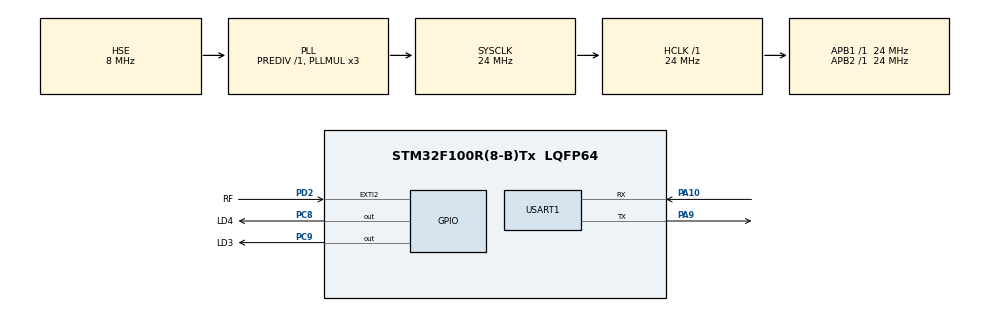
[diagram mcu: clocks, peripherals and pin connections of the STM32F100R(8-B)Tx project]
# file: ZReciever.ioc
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Mcu.Family=STM32F1
Mcu.Name=STM32F100R(8-B)Tx
Mcu.Package=LQFP64
NVIC.EXTI2_IRQn=true\:0\:0\:false\:false\:true
NVIC.PriorityGroup=NVIC_PRIORITYGROUP_4
NVIC.USART1_IRQn=true\:0\:0\:false\:false\:true
PA10.Mode=Asynchronous
PA10.Signal=USART1_RX
PA13.Mode=Serial_Wire
PA13.Signal=SYS_JTMS-SWDIO
PA14.Mode=Serial_Wire
PA14.Signal=SYS_JTCK-SWCLK
PA9.Mode=Asynchronous
PA9.Signal=USART1_TX
PC14-OSC32_IN.Mode=LSE-External-Oscillator
PC14-OSC32_IN.Signal=RCC_OSC32_IN
PC15-OSC32_OUT.Mode=LSE-External-Oscillator
PC15-OSC32_OUT.Signal=RCC_OSC32_OUT
PC8.GPIO_Label=LD4
PC8.GPIO_Speed=GPIO_SPEED_FREQ_HIGH
PC8.Signal=GPIO_Output
PC9.GPIO_Label=LD3
PC9.GPIO_Speed=GPIO_SPEED_FREQ_HIGH
PC9.Signal=GPIO_Output
PD0-OSC_IN.Mode=HSE-External-Oscillator
PD0-OSC_IN.Signal=RCC_OSC_IN
PD1-OSC_OUT.Mode=HSE-External-Oscillator
PD1-OSC_OUT.Signal=RCC_OSC_OUT
PD2.GPIO_Label=RF
PD2.Signal=GPXTI2
ProjectManager.HeapSize=0x200
ProjectManager.StackSize=0x400
ProjectManager.TargetToolchain=MDK-ARM V5
RCC.AHBFreq_Value=24000000
RCC.APB1Freq_Value=24000000
RCC.APB1TimFreq_Value=24000000
RCC.APB2Freq_Value=24000000
RCC.APB2TimFreq_Value=24000000
RCC.HCLKFreq_Value=24000000
RCC.PLLMUL=RCC_PLL_MUL3
RCC.PLLSource=RCC_PLLSOURCE_HSE
RCC.SYSCLKFreq_VALUE=24000000
RCC.SYSCLKSource=RCC_SYSCLKSOURCE_PLLCLK
TIM4.Period=15000
TIM4.Prescaler=23
USART1.VirtualMode=VM_ASYNC
VP_CRC_VS_CRC.Mode=CRC_Activate
VP_TIM4_VS_ClockSourceINT.Mode=Internal
board=ZReciever

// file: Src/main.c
/**
  ******************************************************************************
  * File Name          : main.c
  * Description        : Main program body
  ******************************************************************************
  ** This notice applies to any and all portions of this file
  * that are not between comment pairs USER CODE BEGIN and
  * USER CODE END. Other portions of this file, whether
  * inserted by the user or by software development tools
  * are owned by their respective copyright owners.
  *
  * COPYRIGHT(c) 2017 STMicroelectronics
  *
  * Redistribution and use in source and binary forms, with or without modification,
  * are permitted provided that the following conditions are met:
  *   1. Redistributions of source code must retain the above copyright notice,
  *      this list of conditions and the following disclaimer.
  *   2. Redistributions in binary form must reproduce the above copyright notice,
  *      this list of conditions and the following disclaimer in the documentation
  *      and/or other materials provided with the distribution.
  *   3. Neither the name of STMicroelectronics nor the names of its contributors
  *      may be used to endorse or promote products derived from this software
  *      without specific prior written permission.
  *
  * THIS SOFTWARE IS PROVIDED BY THE COPYRIGHT HOLDERS AND CONTRIBUTORS "AS IS"
  * AND ANY EXPRESS OR IMPLIED WARRANTIES, INCLUDING, BUT NOT LIMITED TO, THE
  * IMPLIED WARRANTIES OF MERCHANTABILITY AND FITNESS FOR A PARTICULAR PURPOSE ARE
  * DISCLAIMED. IN NO EVENT SHALL THE COPYRIGHT HOLDER OR CONTRIBUTORS BE LIABLE
  * FOR ANY DIRECT, INDIRECT, INCIDENTAL, SPECIAL, EXEMPLARY, OR CONSEQUENTIAL
  * DAMAGES (INCLUDING, BUT NOT LIMITED TO, PROCUREMENT OF SUBSTITUTE GOODS OR
  * SERVICES; LOSS OF USE, DATA, OR PROFITS; OR BUSINESS INTERRUPTION) HOWEVER
  * CAUSED AND ON ANY THEORY OF LIABILITY, WHETHER IN CONTRACT, STRICT LIABILITY,
  * OR TORT (INCLUDING NEGLIGENCE OR OTHERWISE) ARISING IN ANY WAY OUT OF THE USE
  * OF THIS SOFTWARE, EVEN IF ADVISED OF THE POSSIBILITY OF SUCH DAMAGE.
  *
  ******************************************************************************
  */
#include "main.h"
#include "stm32f1xx_hal.h"
#include "crc.h"
#include "tim.h"
#include "usart.h"
#include "gpio.h"

/* USER CODE BEGIN PV */
/* Exported macro ------------------------------------------------------------*/
#define PUTCHAR_PROTOTYPE int fputc(int ch, FILE *f)
/* Private defines -----------------------------------------------------------*/
#define PREAMBLE_MARK_TIME 4500
#define PREAMBLE_SPACE_TIME 4500
#define PREAMBLE_TIME (PREAMBLE_MARK_TIME + PREAMBLE_SPACE_TIME)
#define LOGIC_ONE_TIME 2150
#define LOGIC_ZERO_TIME 1300
#define MARK_TIME 650
#define SPACE_TIME_1 1500
#define SPACE_TIME_0 650

#define INTERVAL 250
#define INTERVAL_PREAMBLE 1500

#define MSG_LEN 5
#define CRC_IDX 4

/* Private variables ---------------------------------------------------------*/
volatile uint8_t    irState = 0;
volatile uint8_t    irAddr = 0;
volatile uint8_t    irLen = 0;
volatile uint8_t    irReceive[8];
volatile uint8_t    irMsg[MSG_LEN];
volatile uint8_t    irMsgIdx = 0;
volatile uint8_t    flgMsgReceive = 0;
volatile uint8_t    flgBadMsg = 0;
/* USER CODE END PV */

void SystemClock_Config(void);

/* USER CODE BEGIN PFP */
/* Private function prototypes -----------------------------------------------*/
void RF_SetReady(void);
uint8_t Crc8(uint8_t *pcBlock, uint16_t len);
/* USER CODE END PFP */

int main(void)
{

  /* USER CODE BEGIN 1 */
	uint8_t CRCValue = 0;
	uint16_t ADC_Value = 0;
	float u = 0;
  /* USER CODE END 1 */

  /* MCU Configuration----------------------------------------------------------*/

  /* Reset of all peripherals, Initializes the Flash interface and the Systick. */
  HAL_Init();

  /* Configure the system clock */
  SystemClock_Config();

  /* Initialize all configured peripherals */
  MX_GPIO_Init();
  MX_TIM4_Init();
  MX_USART1_UART_Init();
  MX_CRC_Init();

  /* USER CODE BEGIN 2 */
	printf("Reciever started..\n\r");
	RF_SetReady();
  HAL_NVIC_EnableIRQ(EXTI2_IRQn);
  /* USER CODE END 2 */

  /* Infinite loop */
  /* USER CODE BEGIN WHILE */
  while (1)
  {
		if (flgBadMsg) {
			RF_SetReady();
    }
    if (flgMsgReceive) {
			CRCValue = Crc8((uint8_t*)irMsg, MSG_LEN - 1);
			if (irMsg[CRC_IDX] == CRCValue) {
				ADC_Value = (uint16_t)(irMsg[1]<<8) + irMsg[2];
				u = ((float)ADC_Value)*3/4096;
				switch(irMsg[3]) {
					case 0:
						printf("device disconnect, ADC = %04d V=%.2fv - \n\r",  ADC_Value, u);
						break;
					case 1:
						printf("device connected, ADC = %04d V=%.2fv - \n\r",  ADC_Value, u);
						break;
					case 2:
						printf("device started..\n\r");
						break;
				}
				RF_SetReady();
				HAL_GPIO_WritePin(LD3_GPIO_Port, LD3_Pin, GPIO_PIN_SET);
        HAL_Delay(200);
        HAL_GPIO_WritePin(LD3_GPIO_Port, LD3_Pin, GPIO_PIN_RESET);
      }
    }
  /* USER CODE END WHILE */

  }

}

/** System Clock Configuration
*/
void SystemClock_Config(void)
{

  RCC_OscInitTypeDef RCC_OscInitStruct;
  RCC_ClkInitTypeDef RCC_ClkInitStruct;

    /**Initializes the CPU, AHB and APB busses clocks
    */
  RCC_OscInitStruct.OscillatorType = RCC_OSCILLATORTYPE_HSE;
  RCC_OscInitStruct.HSEState = RCC_HSE_ON;
  RCC_OscInitStruct.HSEPredivValue = RCC_HSE_PREDIV_DIV1;
  RCC_OscInitStruct.PLL.PLLState = RCC_PLL_ON;
  RCC_OscInitStruct.PLL.PLLSource = RCC_PLLSOURCE_HSE;
  RCC_OscInitStruct.PLL.PLLMUL = RCC_PLL_MUL3;
  if (HAL_RCC_OscConfig(&RCC_OscInitStruct) != HAL_OK)
  {
    _Error_Handler(__FILE__, __LINE__);
  }

    /**Initializes the CPU, AHB and APB busses clocks
    */
  RCC_ClkInitStruct.ClockType = RCC_CLOCKTYPE_HCLK|RCC_CLOCKTYPE_SYSCLK
                              |RCC_CLOCKTYPE_PCLK1|RCC_CLOCKTYPE_PCLK2;
  RCC_ClkInitStruct.SYSCLKSource = RCC_SYSCLKSOURCE_PLLCLK;
  RCC_ClkInitStruct.AHBCLKDivider = RCC_SYSCLK_DIV1;
  RCC_ClkInitStruct.APB1CLKDivider = RCC_HCLK_DIV1;
  RCC_ClkInitStruct.APB2CLKDivider = RCC_HCLK_DIV1;

  if (HAL_RCC_ClockConfig(&RCC_ClkInitStruct, FLASH_LATENCY_0) != HAL_OK)
  {
    _Error_Handler(__FILE__, __LINE__);
  }

    /**Configure the Systick interrupt time
    */
  HAL_SYSTICK_Config(HAL_RCC_GetHCLKFreq()/1000);

    /**Configure the Systick
    */
  HAL_SYSTICK_CLKSourceConfig(SYSTICK_CLKSOURCE_HCLK);

  /* SysTick_IRQn interrupt configuration */
  HAL_NVIC_SetPriority(SysTick_IRQn, 0, 0);
}

/* USER CODE BEGIN 4 */
void RF_SetReady(void)
{
    flgBadMsg = 0;
    irLen = 0;
    irState = 0;
    flgMsgReceive = 0;
}

void HAL_GPIO_EXTI_Callback(uint16_t GPIO_Pin)
{
	uint16_t duration;

	if(GPIO_Pin == GPIO_PIN_2)
	{
		switch (irState) {
    case 0:
        __HAL_TIM_SET_COUNTER(&htim4, 0);
        __HAL_TIM_ENABLE(&htim4);
        irState = 1;
        break;
    case 1:
        __HAL_TIM_DISABLE(&htim4);
        duration = __HAL_TIM_GET_COUNTER(&htim4);
        __HAL_TIM_SET_COUNTER(&htim4, 0);
        __HAL_TIM_ENABLE(&htim4);
        if ((duration > PREAMBLE_TIME - INTERVAL_PREAMBLE)&&(duration < PREAMBLE_TIME + INTERVAL_PREAMBLE)) {
            irState = 2;
            irLen = 0;
        }
        else {
            flgBadMsg = 1;
            irState = 4;
        }
        break;
    case 2:
        __HAL_TIM_DISABLE(&htim4);
        duration = __HAL_TIM_GET_COUNTER(&htim4);
        if (duration < INTERVAL) {
            __HAL_TIM_ENABLE(&htim4);
            break;
        }
        __HAL_TIM_SET_COUNTER(&htim4, 0);
        __HAL_TIM_ENABLE(&htim4);
        if ((duration > LOGIC_ONE_TIME - INTERVAL)&&(duration < LOGIC_ONE_TIME + INTERVAL)) {
            irReceive[irLen] = 1;
            irLen++;
        }
        else if ((duration > LOGIC_ZERO_TIME - INTERVAL)&&(duration < LOGIC_ZERO_TIME + INTERVAL)) {
            irReceive[irLen] = 0;
            irLen++;
        }
        else {
            flgBadMsg = 1;
            irState = 4;
            irLen = 0;
        }

        if (irLen == 8) {

            if (irReceive[0] == 6) irState = 0;
            if (irReceive[1] == 6) irState = 0;
            if (irReceive[2] == 6) irState = 0;
            if (irReceive[3] == 6) irState = 0;
            if (irReceive[4] == 6) irState = 0;
            if (irReceive[5] == 6) irState = 0;
            if (irReceive[6] == 6) irState = 0;
            if (irReceive[7] == 6) irState = 0;

            irMsg[irMsgIdx++] = (irReceive[0] << 7) + (irReceive[1] << 6) + (irReceive[2] << 5) + (irReceive[3] << 4) + (irReceive[4] << 3) + (irReceive[5] << 2) +
																(irReceive[6] << 1) + irReceive[7];

            if (irMsgIdx == MSG_LEN) {
                __HAL_TIM_DISABLE(&htim4);
                __HAL_TIM_SET_COUNTER(&htim4, 0);
                irMsgIdx = 0;
                flgMsgReceive = 1;
                irState = 4;
            }
            else {
                irLen = 0;
            }
        }
        break;
    case 4:
        break;
    }
	}
}

uint8_t Crc8(uint8_t *pcBlock, uint16_t len)
{
    uint8_t crc = 0xFF;
    uint16_t i;

    while (len--)
    {
        crc ^= *pcBlock++;

        for (i = 0; i < 8; i++)
            crc = crc & 0x80 ? (crc << 1) ^ 0x31 : crc << 1;
    }

    return crc;
}

/**
  * @brief  Retargets the C library printf function to the USART.
  * @param  None
  * @retval None
  */
PUTCHAR_PROTOTYPE
{
  /* Place your implementation of fputc here */
  /* e.g. write a character to the EVAL_COM1 and Loop until the end of transmission */
  HAL_UART_Transmit(&huart1, (uint8_t *)&ch, 1, 0xFFFF);

  return ch;
}

/* USER CODE END 4 */

void _Error_Handler(char * file, int line)
{
  while(1)
  {
  }
}

/************************ (C) COPYRIGHT STMicroelectronics *****END OF FILE****/
